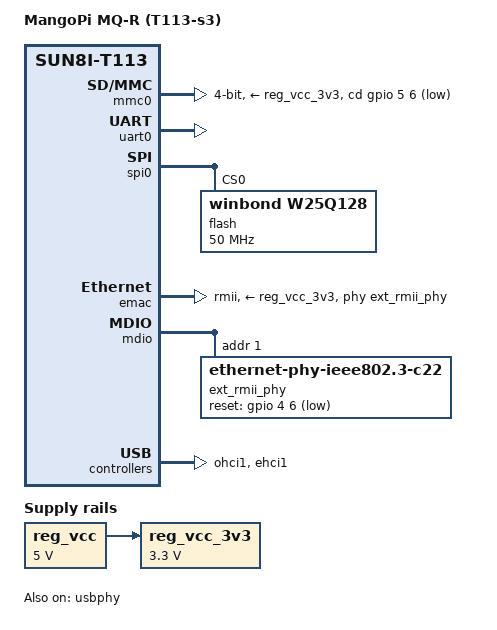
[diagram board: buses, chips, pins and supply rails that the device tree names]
/*
 mangopi t133 based evb
*/

/dts-v1/;
#include <dt-bindings/gpio/gpio.h>
#include "sun8i-t113.dtsi"
// #include "sunxi-common-regulators.dtsi"

/ {
	model = "MangoPi MQ-R (T113-s3)";
	compatible = "mangopi,mangopi-mq-r", "allwinner,sun8i-t113";

	aliases {
		serial0 = &uart0;
	};

	chosen {
		stdout-path = "serial0:115200n8";
	};

	reg_vcc: vcc {
		compatible = "regulator-fixed";
		regulator-name = "vcc";
		regulator-min-microvolt = <5000000>;
		regulator-max-microvolt = <5000000>;
	};

	reg_vcc_3v3: vcc-3v3 {
		compatible = "regulator-fixed";
		regulator-name = "vcc-3v3";
		regulator-min-microvolt = <3300000>;
		regulator-max-microvolt = <3300000>;
		vin-supply = <&reg_vcc>;
	};
};

&mmc0 {
	pinctrl-0 = <&mmc0_pins>;
	pinctrl-names = "default";
	cd-gpios = <&gpio 5 6 GPIO_ACTIVE_LOW>;
	bus-width = <4>;
	disable-wp;
	vmmc-supply = <&reg_vcc_3v3>;
	vqmmc-supply = <&reg_vcc_3v3>;
	status = "okay";
};

&uart0 {
	pinctrl-0 = <&uart0_pe_pins>;
    pinctrl-names = "default";
	status = "okay";
};

&spi0 {
	status = "okay";

	flash@0 {
		#address-cells = <1>;
		#size-cells = <1>;
		compatible = "winbond,w25q128", "jedec,spi-nor";
		reg = <0>;
		spi-max-frequency = <50000000>;
	};
};

&emac {
	pinctrl-0 = <&rmii_pg_pins>;
	pinctrl-names = "default";
	phy-handle = <&ext_rmii_phy>;
	phy-mode = "rmii";
	phy-supply = <&reg_vcc_3v3>;
	status = "okay";
};

&mdio {
	ext_rmii_phy: ethernet-phy@1 {
		compatible = "ethernet-phy-ieee802.3-c22";
		reg = <1>;
		reset-gpios = <&gpio 4 6 GPIO_ACTIVE_LOW>; /* PE16 */
	};
};

&ohci1 {
	status = "okay";
};

&ehci1 {
	status = "okay";
};

&usbphy {
	/delete-property/ usb0_vbus_det-gpios;
	usb1_vbus-supply = <&reg_vcc>;
	status = "okay";
};
